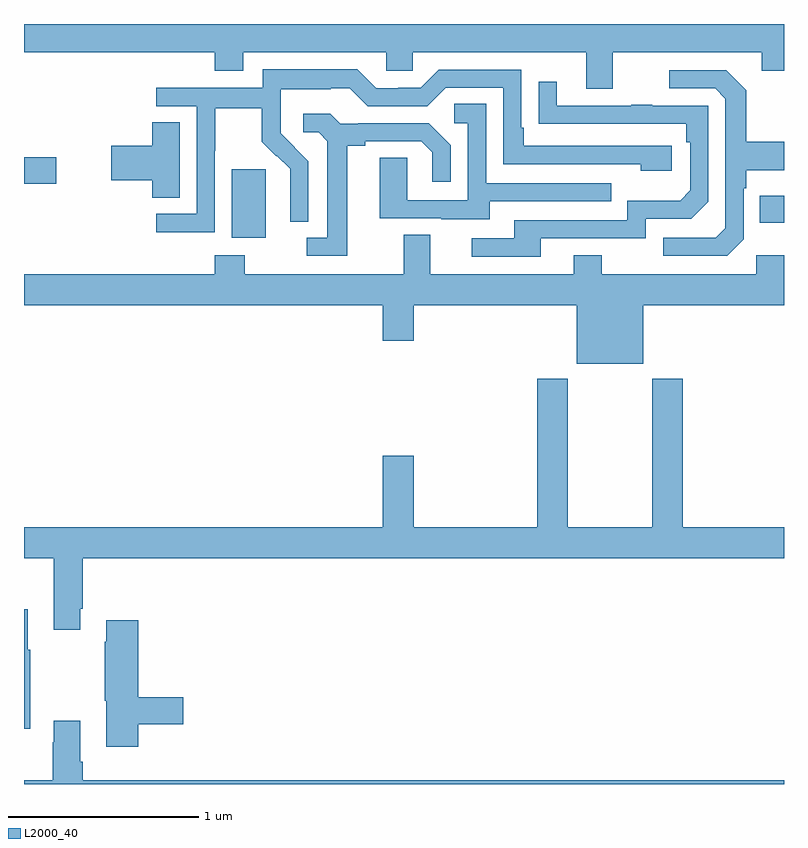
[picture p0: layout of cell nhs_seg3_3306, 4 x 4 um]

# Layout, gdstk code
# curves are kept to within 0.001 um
import gdstk
lib = gdstk.Library(unit=1e-6, precision=1e-09)
def R(c, l, rs):  # rectangles x0, y0, x1, y1
    for r in rs: c.add(gdstk.rectangle(r[:2], r[2:], *l))
def P(c, l, *ps):  # polygons
    for p in ps: c.add(gdstk.Polygon(p, *l))
L2000_40 = (2000, 40)

nhs_seg3_3306 = lib.new_cell('nhs_seg3_3306')
R(nhs_seg3_3306, L2000_40, [(284.093,697.274,284.272,697.635), (286.873,697.355,287,697.495), (283,697.558,283.171,697.7)])
P(nhs_seg3_3306, L2000_40, [(286.099,698.252),(286.883,698.252),(286.883,698.153),(287,698.153),(287,698.4),(283,698.4),(283,698.252),(284.003,698.252),(284.003,698.153),(284.155,698.153),(284.155,698.252),(284.907,698.252),(284.907,698.154),(285.045,698.154),(285.045,698.252),(285.959,698.252),(285.959,698.058),(286.099,698.058)],
  [(284.004,697.732),(284.007,697.732),(284.007,697.956),(284.251,697.956),(284.251,697.781),(284.328,697.704),(284.331,697.707),(284.402,697.637),(284.402,697.514),(284.4,697.514),(284.4,697.36),(284.496,697.36),(284.496,697.678),(284.35,697.826),(284.35,697.923),(284.352,697.923),(284.352,698.057),(284.615,698.057),(284.615,698.061),(284.715,698.061),(284.808,697.968),(285.123,697.968),(285.219,698.064),(285.522,698.064),(285.522,697.662),(286.247,697.662),(286.247,697.628),(286.408,697.628),(286.408,697.758),(285.631,697.758),(285.631,697.855),(285.618,697.855),(285.618,698.16),(285.183,698.16),(285.087,698.064),(284.969,698.064),(284.969,698.061),(284.853,698.061),(284.753,698.161),(284.256,698.161),(284.256,698.064),(283.695,698.064),(283.695,697.968),(283.908,697.968),(283.908,697.401),(283.695,697.401),(283.695,697.303),(284.004,697.303)],
  [(286.788,697.266),(286.788,697.535),(286.801,697.535),(286.801,697.631),(287,697.631),(287,697.779),(286.801,697.779),(286.801,698.051),(286.695,698.157),(286.395,698.157),(286.395,698.061),(286.638,698.061),(286.692,698.007),(286.692,697.326),(286.641,697.275),(286.365,697.275),(286.365,697.179),(286.701,697.179)],
  [(285.721,697.272),(286.272,697.272),(286.272,697.374),(286.512,697.374),(286.602,697.464),(286.602,697.971),(286.307,697.971),(286.307,697.976),(286.195,697.976),(286.195,697.971),(285.805,697.971),(285.805,698.095),(285.709,698.095),(285.709,697.876),(286.486,697.875),(286.486,697.778),(286.506,697.778),(286.506,697.524),(286.453,697.471),(286.176,697.471),(286.176,697.368),(285.581,697.368),(285.581,697.272),(285.357,697.272),(285.357,697.176),(285.721,697.176)],
  [(285.451,697.467),(286.091,697.467),(286.091,697.563),(285.432,697.563),(285.432,697.979),(285.264,697.979),(285.264,697.878),(285.336,697.878),(285.336,697.473),(285.018,697.473),(285.018,697.697),(284.873,697.697),(284.873,697.377),(285.197,697.377),(285.197,697.373),(285.451,697.373)],
  [(284.701,697.76),(284.797,697.76),(284.797,697.782),(285.092,697.782),(285.149,697.725),(285.149,697.569),(285.246,697.569),(285.246,697.762),(285.13,697.878),(284.758,697.878),(284.758,697.875),(284.664,697.875),(284.612,697.927),(284.469,697.927),(284.469,697.83),(284.55,697.83),(284.597,697.783),(284.597,697.275),(284.487,697.275),(284.487,697.179),(284.701,697.179)],
  [(283.819,697.883),(283.676,697.883),(283.676,697.76),(283.458,697.76),(283.458,697.577),(283.676,697.577),(283.676,697.486),(283.819,697.486)],
  [(286.258,696.92),(287,696.92),(287,697.183),(286.854,697.183),(286.854,697.084),(286.041,697.084),(286.041,697.183),(285.893,697.183),(285.893,697.084),(285.139,697.084),(285.139,697.292),(284.999,697.292),(284.999,697.084),(284.163,697.084),(284.163,697.183),(284.003,697.183),(284.003,697.084),(283,697.084),(283,696.92),(284.888,696.92),(284.888,696.732),(285.052,696.732),(285.052,696.92),(285.908,696.92),(285.908,696.611),(286.258,696.611)],
  [(283.297,695.323),(283.31,695.323),(283.31,695.588),(287,695.588),(287,695.752),(286.466,695.752),(286.466,696.532),(286.306,696.532),(286.306,695.752),(285.861,695.752),(285.861,696.532),(285.701,696.532),(285.701,695.752),(285.052,695.752),(285.052,696.127),(284.888,696.127),(284.888,695.752),(283,695.752),(283,695.588),(283.157,695.588),(283.157,695.211),(283.297,695.211)],
  [(283.033,695.107),(283.021,695.107),(283.021,695.32),(283,695.32),(283,694.691),(283.033,694.691)],
  [(283.601,694.714),(283.837,694.714),(283.837,694.856),(283.601,694.856),(283.601,695.263),(283.433,695.263),(283.433,695.15),(283.426,695.15),(283.426,694.839),(283.433,694.839),(283.433,694.596),(283.601,694.596)],
  [(287,694.42),(283.31,694.42),(283.31,694.516),(283.297,694.516),(283.297,694.732),(283.157,694.732),(283.157,694.619),(283.15,694.619),(283.15,694.42),(283,694.42),(283,694.4),(287,694.4)])

lib.write_gds('nhs_seg3_3306.gds')
